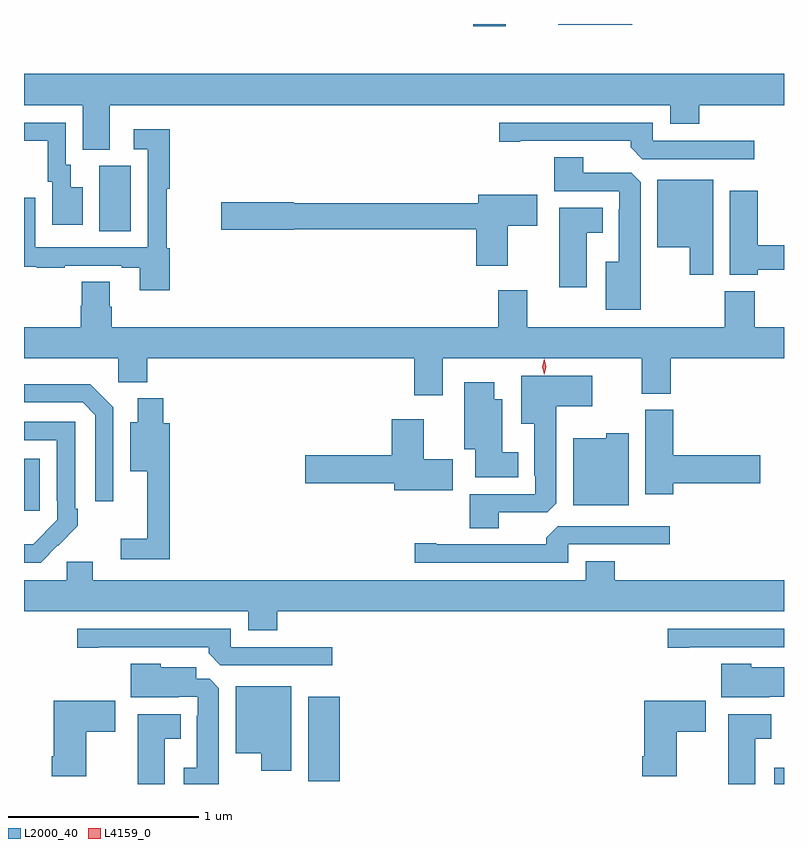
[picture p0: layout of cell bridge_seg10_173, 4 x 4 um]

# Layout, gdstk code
import gdstk
lib = gdstk.Library(unit=1e-6, precision=1e-09)
def R(c, l, rs):  # rectangles x0, y0, x1, y1
    for r in rs: c.add(gdstk.rectangle(r[:2], r[2:], *l))
def P(c, l, *ps):  # polygons
    for p in ps: c.add(gdstk.Polygon(p, *l))
L2000_40 = (2000, 40)
L4159_0 = (4159, 0)

bridge_seg10_173 = lib.new_cell('bridge_seg10_173')
R(bridge_seg10_173, L2000_40, [(194.888,1282.091,194.939,1282.177), (192.434,1282.105,192.602,1282.549), (190.939,1283.529,191.023,1283.803), (191.336,1285,191.5,1285.344), (193.304,1286.079,193.474,1286.091), (193.752,1286.087,194.14,1286.091)])
P(bridge_seg10_173, L2000_40, [(191.389,1285.664),(194.339,1285.664),(194.339,1285.565),(194.492,1285.565),(194.492,1285.664),(194.939,1285.664),(194.939,1285.828),(190.939,1285.828),(190.939,1285.664),(191.249,1285.664),(191.249,1285.429),(191.389,1285.429)],
  [(191.248,1285.231),(191.185,1285.231),(191.185,1285.35),(191.16,1285.35),(191.16,1285.572),(190.939,1285.572),(190.939,1285.476),(191.063,1285.476),(191.063,1285.26),(191.087,1285.26),(191.087,1285.035),(191.248,1285.035)],
  [(194.782,1285.476),(194.247,1285.476),(194.247,1285.572),(193.44,1285.572),(193.44,1285.471),(193.552,1285.471),(193.552,1285.476),(194.132,1285.476),(194.132,1285.442),(194.193,1285.38),(194.782,1285.38)],
  [(191.705,1284.912),(191.69,1284.912),(191.69,1285.224),(191.705,1285.224),(191.705,1285.537),(191.517,1285.537),(191.517,1285.431),(191.589,1285.431),(191.589,1284.915),(190.998,1284.915),(190.998,1285.177),(190.939,1285.177),(190.939,1284.813),(191.005,1284.813),(191.005,1284.807),(191.153,1284.807),(191.153,1284.819),(191.453,1284.819),(191.453,1284.807),(191.549,1284.807),(191.549,1284.69),(191.705,1284.69)],
  [(194.185,1285.259),(194.136,1285.308),(193.882,1285.308),(193.882,1285.391),(193.73,1285.391),(193.73,1285.212),(194.073,1285.212),(194.073,1285.115),(194.069,1285.115),(194.069,1284.841),(194,1284.841),(194,1284.587),(194.185,1284.587)],
  [(194.566,1285.27),(194.273,1285.27),(194.273,1284.917),(194.444,1284.917),(194.444,1284.771),(194.566,1284.771)],
  [(194.801,1284.798),(194.939,1284.798),(194.939,1284.926),(194.801,1284.926),(194.801,1285.213),(194.654,1285.213),(194.654,1284.77),(194.801,1284.77)],
  [(193.486,1285.03),(193.639,1285.03),(193.639,1285.192),(193.331,1285.192),(193.331,1285.148),(192.36,1285.148),(192.36,1285.154),(191.976,1285.154),(191.976,1285.007),(192.36,1285.007),(192.36,1285.012),(193.319,1285.012),(193.319,1284.819),(193.486,1284.819)],
  [(193.9,1284.992),(193.984,1284.992),(193.984,1285.123),(193.757,1285.123),(193.757,1284.705),(193.9,1284.705)],
  [(193.588,1284.691),(193.436,1284.691),(193.436,1284.496),(191.402,1284.496),(191.402,1284.602),(191.389,1284.602),(191.389,1284.734),(191.242,1284.734),(191.242,1284.609),(191.237,1284.609),(191.237,1284.496),(190.939,1284.496),(190.939,1284.332),(191.436,1284.332),(191.436,1284.206),(191.588,1284.206),(191.588,1284.332),(192.992,1284.332),(192.992,1284.138),(193.144,1284.138),(193.144,1284.332),(194.189,1284.332),(194.189,1284.145),(194.342,1284.145),(194.342,1284.332),(194.939,1284.332),(194.939,1284.496),(194.786,1284.496),(194.786,1284.685),(194.626,1284.685),(194.626,1284.496),(193.588,1284.496)],
  [(193.438,1283.52),(193.692,1283.52),(193.741,1283.569),(193.741,1284.08),(193.93,1284.08),(193.93,1284.241),(193.556,1284.241),(193.556,1283.987),(193.625,1283.987),(193.625,1283.713),(193.629,1283.713),(193.629,1283.616),(193.286,1283.616),(193.286,1283.437),(193.438,1283.437)],
  [(193.54,1283.836),(193.456,1283.836),(193.456,1284.115),(193.414,1284.115),(193.414,1284.205),(193.256,1284.205),(193.256,1283.852),(193.313,1283.852),(193.313,1283.705),(193.54,1283.705)],
  [(191.409,1284.075),(191.288,1284.196),(190.939,1284.196),(190.939,1284.099),(191.247,1284.099),(191.313,1284.033),(191.313,1283.58),(191.409,1283.58)],
  [(191.705,1283.991),(191.672,1283.991),(191.672,1284.121),(191.537,1284.121),(191.537,1283.995),(191.498,1283.995),(191.498,1283.738),(191.588,1283.738),(191.588,1283.383),(191.448,1283.383),(191.448,1283.274),(191.705,1283.274)],
  [(194.357,1283.675),(194.815,1283.675),(194.815,1283.822),(194.357,1283.822),(194.357,1284.06),(194.21,1284.06),(194.21,1283.616),(194.357,1283.616)],
  [(193.195,1283.799),(193.042,1283.799),(193.042,1284.01),(192.875,1284.01),(192.875,1283.822),(192.42,1283.822),(192.42,1283.675),(192.887,1283.675),(192.887,1283.636),(193.195,1283.636)],
  [(191.117,1283.347),(191.118,1283.346),(191.223,1283.451),(191.223,1283.539),(191.208,1283.539),(191.208,1283.997),(190.939,1283.997),(190.939,1283.901),(191.112,1283.901),(191.112,1283.581),(191.115,1283.581),(191.115,1283.481),(190.987,1283.353),(190.939,1283.353),(190.939,1283.256),(191.026,1283.256)],
  [(194.122,1283.938),(194.004,1283.938),(194.004,1283.911),(193.829,1283.911),(193.829,1283.558),(194.122,1283.558)],
  [(193.803,1283.352),(194.338,1283.352),(194.338,1283.448),(193.749,1283.448),(193.688,1283.386),(193.688,1283.352),(193.108,1283.352),(193.108,1283.357),(192.996,1283.357),(192.996,1283.256),(193.803,1283.256)],
  [(192.272,1283),(194.939,1283),(194.939,1283.164),(194.048,1283.164),(194.048,1283.263),(193.895,1283.263),(193.895,1283.164),(191.302,1283.164),(191.302,1283.262),(191.163,1283.262),(191.163,1283.164),(190.939,1283.164),(190.939,1283),(192.119,1283),(192.119,1282.901),(192.272,1282.901)],
  [(194.44,1282.812),(194.939,1282.812),(194.939,1282.908),(194.328,1282.908),(194.328,1282.807),(194.44,1282.807)],
  [(192.562,1282.812),(192.027,1282.812),(192.027,1282.908),(191.22,1282.908),(191.22,1282.807),(191.332,1282.807),(191.332,1282.812),(191.912,1282.812),(191.912,1282.778),(191.973,1282.716),(192.562,1282.716)],
  [(191.965,1282.595),(191.916,1282.644),(191.845,1282.644),(191.845,1282.705),(191.658,1282.705),(191.658,1282.723),(191.501,1282.723),(191.501,1282.547),(191.753,1282.547),(191.753,1282.551),(191.853,1282.551),(191.853,1282.451),(191.849,1282.451),(191.849,1282.177),(191.78,1282.177),(191.78,1282.091),(191.965,1282.091)],
  [(194.861,1282.551),(194.939,1282.551),(194.939,1282.705),(194.766,1282.705),(194.766,1282.723),(194.609,1282.723),(194.609,1282.547),(194.861,1282.547)],
  [(192.346,1282.606),(192.053,1282.606),(192.053,1282.253),(192.188,1282.253),(192.188,1282.161),(192.346,1282.161)],
  [(191.266,1282.366),(191.419,1282.366),(191.419,1282.528),(191.096,1282.528),(191.096,1282.237),(191.084,1282.237),(191.084,1282.133),(191.266,1282.133)],
  [(194.374,1282.366),(194.527,1282.366),(194.527,1282.528),(194.204,1282.528),(194.204,1282.237),(194.192,1282.237),(194.192,1282.133),(194.374,1282.133)],
  [(194.788,1282.328),(194.872,1282.328),(194.872,1282.459),(194.645,1282.459),(194.645,1282.091),(194.788,1282.091)],
  [(191.68,1282.328),(191.764,1282.328),(191.764,1282.459),(191.537,1282.459),(191.537,1282.091),(191.68,1282.091)])
P(bridge_seg10_173, L4159_0, [(193.678,1284.246),(193.678,1284.246),(193.667,1284.287),(193.676,1284.328),(193.677,1284.328),(193.677,1284.328),(193.687,1284.287),(193.678,1284.246)])

lib.write_gds('bridge_seg10_173.gds')
